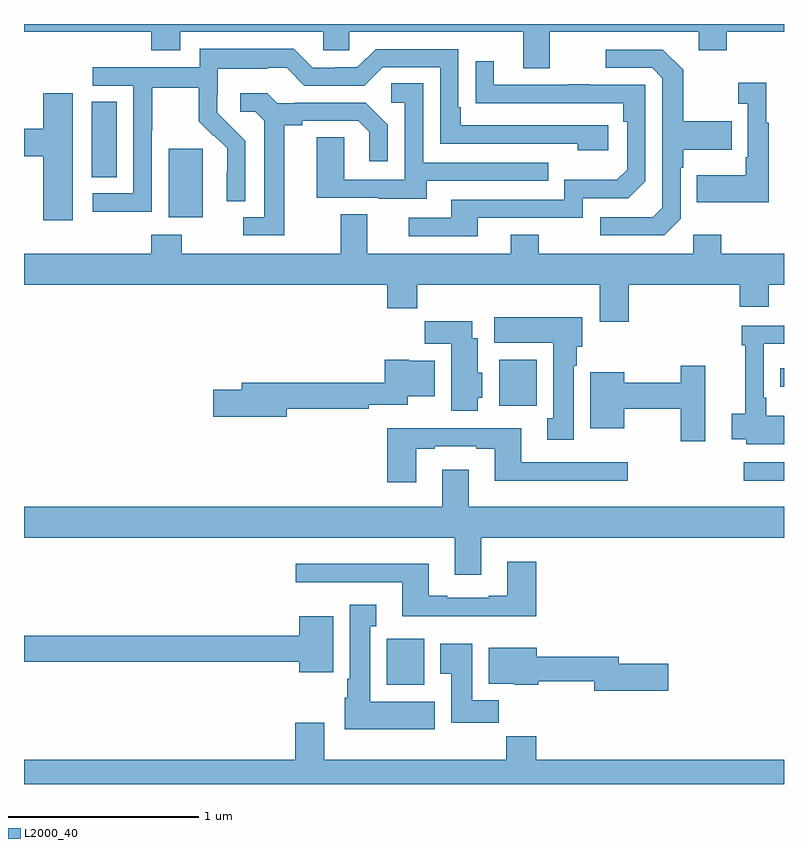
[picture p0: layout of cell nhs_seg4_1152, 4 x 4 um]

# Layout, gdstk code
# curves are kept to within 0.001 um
import gdstk
lib = gdstk.Library(unit=1e-6, precision=1e-09)
def R(c, l, rs):  # rectangles x0, y0, x1, y1
    for r in rs: c.add(gdstk.rectangle(r[:2], r[2:], *l))
def P(c, l, *ps):  # polygons
    for p in ps: c.add(gdstk.Polygon(p, *l))
L2000_40 = (2000, 40)

nhs_seg4_1152 = lib.new_cell('nhs_seg4_1152')
R(nhs_seg4_1152, L2000_40, [(172.91,753.422,173.107,753.664), (174.789,754.496,175,754.593), (173.501,754.892,173.698,755.134), (174.979,754.991,175,755.088), (171.761,755.882,171.94,756.243), (171.356,756.094,171.487,756.491)])
P(nhs_seg4_1152, L2000_40, [(173.767,756.86),(174.551,756.86),(174.551,756.761),(174.699,756.761),(174.699,756.86),(175,756.86),(175,756.9),(171,756.9),(171,756.86),(171.671,756.86),(171.671,756.761),(171.823,756.761),(171.823,756.86),(172.575,756.86),(172.575,756.762),(172.713,756.762),(172.713,756.86),(173.627,756.86),(173.627,756.666),(173.767,756.666)],
  [(171.672,756.34),(171.675,756.34),(171.675,756.564),(171.919,756.564),(171.919,756.389),(171.996,756.312),(171.999,756.315),(172.07,756.245),(172.07,756.122),(172.068,756.122),(172.068,755.968),(172.164,755.968),(172.164,756.286),(172.018,756.434),(172.018,756.531),(172.02,756.531),(172.02,756.665),(172.283,756.665),(172.283,756.669),(172.383,756.669),(172.476,756.576),(172.791,756.576),(172.887,756.672),(173.19,756.672),(173.19,756.27),(173.915,756.27),(173.915,756.236),(174.076,756.236),(174.076,756.366),(173.299,756.366),(173.299,756.463),(173.286,756.463),(173.286,756.768),(172.851,756.768),(172.755,756.672),(172.637,756.672),(172.637,756.669),(172.521,756.669),(172.421,756.769),(171.924,756.769),(171.924,756.672),(171.363,756.672),(171.363,756.576),(171.576,756.576),(171.576,756.009),(171.363,756.009),(171.363,755.911),(171.672,755.911)],
  [(174.456,755.874),(174.456,756.143),(174.469,756.143),(174.469,756.239),(174.725,756.239),(174.725,756.387),(174.469,756.387),(174.469,756.659),(174.363,756.765),(174.063,756.765),(174.063,756.669),(174.306,756.669),(174.36,756.615),(174.36,755.934),(174.309,755.883),(174.033,755.883),(174.033,755.787),(174.369,755.787)],
  [(173.389,755.88),(173.94,755.88),(173.94,755.982),(174.18,755.982),(174.27,756.072),(174.27,756.579),(173.975,756.579),(173.975,756.584),(173.863,756.584),(173.863,756.579),(173.473,756.579),(173.473,756.703),(173.377,756.703),(173.377,756.484),(174.154,756.483),(174.154,756.386),(174.174,756.386),(174.174,756.132),(174.121,756.079),(173.844,756.079),(173.844,755.976),(173.249,755.976),(173.249,755.88),(173.025,755.88),(173.025,755.784),(173.389,755.784)],
  [(174.919,756.379),(174.907,756.379),(174.907,756.592),(174.759,756.592),(174.759,756.479),(174.81,756.479),(174.81,756.199),(174.798,756.199),(174.798,756.103),(174.541,756.103),(174.541,755.963),(174.919,755.963)],
  [(173.119,756.075),(173.759,756.075),(173.759,756.171),(173.1,756.171),(173.1,756.587),(172.932,756.587),(172.932,756.486),(173.004,756.486),(173.004,756.081),(172.686,756.081),(172.686,756.305),(172.541,756.305),(172.541,755.985),(172.865,755.985),(172.865,755.981),(173.119,755.981)],
  [(171.256,756.535),(171.101,756.535),(171.101,756.35),(171.002,756.35),(171.002,756.337),(171,756.337),(171,756.215),(171.002,756.215),(171.002,756.203),(171.101,756.203),(171.101,755.868),(171.256,755.868)],
  [(172.369,756.368),(172.465,756.368),(172.465,756.39),(172.76,756.39),(172.817,756.333),(172.817,756.177),(172.914,756.177),(172.914,756.37),(172.798,756.486),(172.426,756.486),(172.426,756.483),(172.332,756.483),(172.28,756.535),(172.137,756.535),(172.137,756.438),(172.218,756.438),(172.265,756.391),(172.265,755.883),(172.155,755.883),(172.155,755.787),(172.369,755.787)],
  [(174.182,755.528),(174.767,755.528),(174.767,755.411),(174.919,755.411),(174.919,755.528),(175,755.528),(175,755.692),(174.669,755.692),(174.669,755.791),(174.522,755.791),(174.522,755.692),(173.709,755.692),(173.709,755.791),(173.561,755.791),(173.561,755.692),(172.807,755.692),(172.807,755.9),(172.667,755.9),(172.667,755.692),(171.831,755.692),(171.831,755.791),(171.671,755.791),(171.671,755.692),(171,755.692),(171,755.528),(172.913,755.528),(172.913,755.404),(173.069,755.404),(173.069,755.528),(174.029,755.528),(174.029,755.334),(174.182,755.334)],
  [(173.893,755.102),(173.908,755.102),(173.908,755.202),(173.938,755.202),(173.938,755.356),(173.474,755.356),(173.474,755.222),(173.786,755.222),(173.786,754.826),(173.753,754.826),(173.753,754.713),(173.893,754.713)],
  [(173.389,754.932),(173.413,754.932),(173.413,755.064),(173.389,755.064),(173.389,755.245),(173.359,755.245),(173.359,755.335),(173.11,755.335),(173.11,755.216),(173.249,755.216),(173.249,754.865),(173.389,754.865)],
  [(175,754.837),(174.907,754.837),(174.907,754.933),(174.894,754.933),(174.894,755.217),(175,755.217),(175,755.313),(174.778,755.313),(174.778,755.21),(174.797,755.21),(174.797,754.85),(174.725,754.85),(174.725,754.715),(174.801,754.715),(174.801,754.688),(175,754.688)],
  [(172.384,754.876),(172.814,754.876),(172.814,754.896),(173.02,754.896),(173.02,754.94),(173.161,754.94),(173.161,755.128),(173.028,755.128),(173.028,755.134),(172.898,755.134),(172.898,755.012),(172.145,755.012),(172.145,754.976),(171.996,754.976),(171.996,754.834),(172.384,754.834)],
  [(174.586,755.101),(174.457,755.101),(174.457,755.012),(174.16,755.012),(174.16,755.068),(173.981,755.068),(173.981,754.772),(174.16,754.772),(174.16,754.876),(174.457,754.876),(174.457,754.704),(174.586,754.704)],
  [(173.065,754.665),(173.161,754.665),(173.161,754.677),(173.381,754.677),(173.381,754.665),(173.477,754.665),(173.477,754.496),(174.178,754.496),(174.178,754.593),(173.617,754.593),(173.617,754.773),(172.913,754.773),(172.913,754.488),(173.065,754.488)],
  [(173.407,754.196),(175,754.196),(175,754.36),(173.341,754.36),(173.341,754.555),(173.201,754.555),(173.201,754.36),(171,754.36),(171,754.196),(173.267,754.196),(173.267,754.002),(173.407,754.002)],
  [(173.696,754.069),(173.543,754.069),(173.543,753.892),(173.447,753.892),(173.447,753.879),(173.227,753.879),(173.227,753.892),(173.131,753.892),(173.131,754.06),(172.431,754.06),(172.431,753.963),(172.991,753.963),(172.991,753.782),(173.696,753.782)],
  [(173.161,753.334),(172.822,753.334),(172.822,753.731),(172.855,753.731),(172.855,753.844),(172.715,753.844),(172.715,753.454),(172.7,753.454),(172.7,753.354),(172.688,753.354),(172.688,753.188),(173.161,753.188)],
  [(172.627,753.784),(172.448,753.784),(172.448,753.68),(171,753.68),(171,753.544),(172.448,753.544),(172.448,753.488),(172.627,753.488)],
  [(173.498,753.34),(173.359,753.34),(173.359,753.637),(173.192,753.637),(173.192,753.481),(173.249,753.481),(173.249,753.222),(173.498,753.222)],
  [(174.391,753.533),(174.13,753.533),(174.13,753.569),(173.698,753.569),(173.698,753.616),(173.447,753.616),(173.447,753.428),(173.58,753.428),(173.58,753.422),(173.706,753.422),(173.706,753.441),(174.002,753.441),(174.002,753.391),(174.391,753.391)],
  [(175,753.028),(173.696,753.028),(173.696,753.152),(173.539,753.152),(173.539,753.028),(172.579,753.028),(172.579,753.223),(172.427,753.223),(172.427,753.028),(171,753.028),(171,752.9),(175,752.9)])

lib.write_gds('nhs_seg4_1152.gds')
